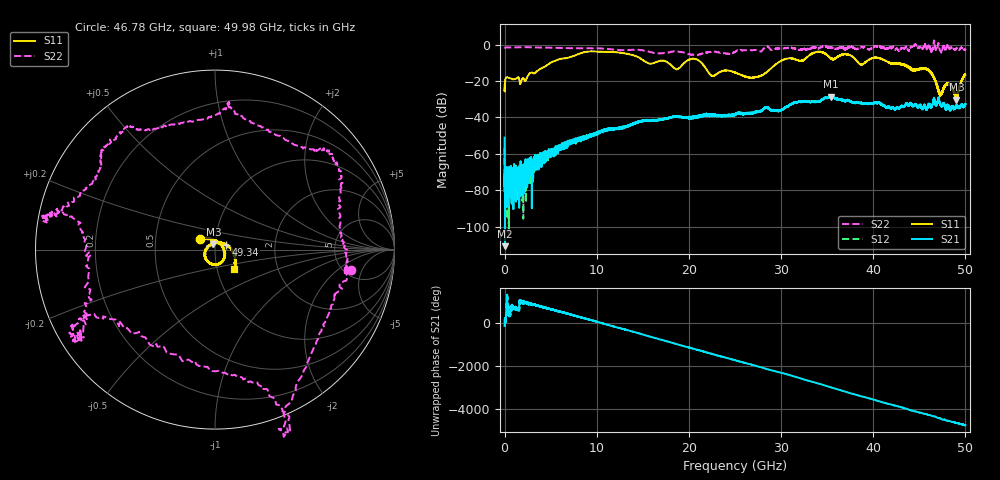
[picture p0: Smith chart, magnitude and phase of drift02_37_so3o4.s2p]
!Created with skrf (http://scikit-rf.org).
# Hz S RI R 50.0
!freq ReS11 ImS11 ReS21 ImS21 ReS12 ImS12 ReS22 ImS22
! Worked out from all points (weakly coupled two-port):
!   10001 points, 300 kHz to 50 GHz, reference 50 ohm
!   highest |S21| = -28.48 dB at 35.39 GHz (marker M1); lowest = -110.8 dB at 40.3 MHz (marker M2)
!   lowest |S11| = -30.2 dB at 49.02 GHz (marker M3), VSWR 1.06, Z = 49 + j2.9 ohm
!   |S11| at or under -10 dB: start of sweep to 4.957 GHz; 21.38 GHz to 29.63 GHz (8.252 GHz wide, 32.4 % of centre); 41.83 GHz to end of sweep (the widest 3 of 10)
!   |S22| runs from -5.7 to 2.4 dB; largest |S21 - S12| = 0.0034
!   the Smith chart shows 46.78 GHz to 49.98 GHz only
!   S11 on the Smith chart (normalised r, x): 46.78 GHz: 0.84, +0.10; 49.34 GHz: 1.13, +0.06; 49.98 GHz: 1.20, -0.27
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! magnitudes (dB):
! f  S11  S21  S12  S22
! 300 kHz  -22.4  -51.1  -56.7  -2.1
! 40.3 MHz  -21.3  -110.8  -79.8  -1.7
! 290.3 MHz  -17.9  -72.8  -75.5  -1.4
! 1.87 GHz  -19.1  -74.6  -78.6  -1.3
! 8.335 GHz  -4.5  -52.1  -52.3  -1.9
! 16.67 GHz  -9.1  -41.6  -41.4  -4.7
! 18.7 GHz  -13.5  -39.4  -39.6  -3.7
! 20.6 GHz  -7.7  -40.3  -39.4  -5.7
! 22.5 GHz  -17.2  -38.9  -38.3  -3.7
! 25 GHz  -15.3  -38.3  -38.0  -3.9
! 27.45 GHz  -17.6  -37.1  -36.7  -3.1
! 33.34 GHz  -4.9  -31.4  -31.2  -1.6
! 35.39 GHz  -7.3  -28.5  -28.6  -1.5
! 41.67 GHz  -9.7  -34.1  -34.3  -1.9
! 45.78 GHz  -13.4  -35.7  -35.5  -2.0
! 46.78 GHz  -19.8  -33.2  -33.0  -2.3
! 47.28 GHz  -27.5  -33.0  -32.9  -3.3
! 48.14 GHz  -21.4  -33.3  -33.1  -0.8
! 49.02 GHz  -30.2  -33.6  -34.0  -1.9
! 49.34 GHz  -23.5  -35.1  -34.1  -2.8
! 49.98 GHz  -16.3  -32.4  -33.4  -2.6
! 50 GHz  -16.5  -32.5  -32.5  -2.6
